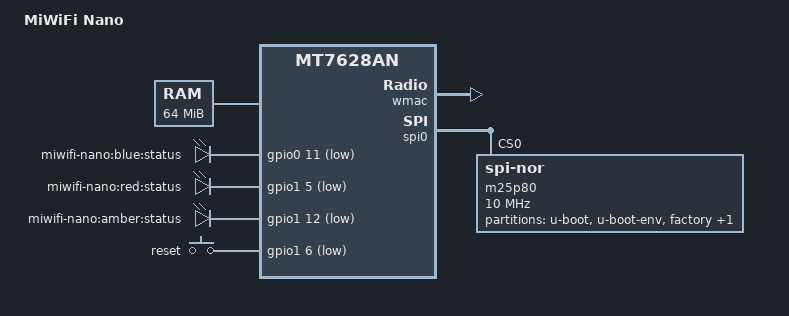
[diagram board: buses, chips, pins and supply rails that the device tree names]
/dts-v1/;

#include "mt7628an.dtsi"

#include <dt-bindings/gpio/gpio.h>
#include <dt-bindings/input/input.h>

/ {
	compatible = "xiaomi,miwifi-nano", "mediatek,mt7628an-soc";
	model = "MiWiFi Nano";

	aliases {
		led-boot = &led_blue;
		led-failsafe = &led_blue;
		led-running = &led_blue;
		led-upgrade = &led_blue;
	};

	chosen {
		bootargs = "console=ttyS0,115200";
	};

	memory@0 {
		device_type = "memory";
		reg = <0x0 0x4000000>;
	};

	gpio-leds {
		compatible = "gpio-leds";

		led_blue: status_blue {
			label = "miwifi-nano:blue:status";
			gpios = <&gpio0 11 GPIO_ACTIVE_LOW>;
		};
		status_red {
			label = "miwifi-nano:red:status";
			gpios = <&gpio1 5 GPIO_ACTIVE_LOW>;
		};
		status_amber {
			label = "miwifi-nano:amber:status";
			gpios = <&gpio1 12 GPIO_ACTIVE_LOW>;
		};
	};

	gpio-keys {
		compatible = "gpio-keys-polled";
		poll-interval = <20>;

		reset {
			label = "reset";
			gpios = <&gpio1 6 GPIO_ACTIVE_LOW>;
			linux,code = <KEY_RESTART>;
		};
	};
};

&pinctrl {
	state_default: pinctrl0 {
		gpio {
			ralink,group = "refclk", "wled_an", "gpio";
			ralink,function = "gpio";
		};
	};
};

&wmac {
	status = "okay";
	ralink,mtd-eeprom = <&factory 0x4>;
};

&ethernet {
	mtd-mac-address = <&factory 0x28>;
};

&spi0 {
	status = "okay";

	m25p80@0 {
		compatible = "jedec,spi-nor";
		reg = <0>;
		spi-max-frequency = <10000000>;
		m25p,chunked-io = <32>;

		partitions {
			compatible = "fixed-partitions";
			#address-cells = <1>;
			#size-cells = <1>;

			partition@0 {
				label = "u-boot";
				reg = <0x0 0x30000>;
				read-only;
			};

			partition@30000 {
				label = "u-boot-env";
				reg = <0x30000 0x10000>;
				read-only;
			};

			factory: partition@40000 {
				label = "factory";
				reg = <0x40000 0x10000>;
				read-only;
			};

			partition@50000 {
				label = "firmware";
				reg = <0x50000 0xfb0000>;
			};
		};
	};
};
